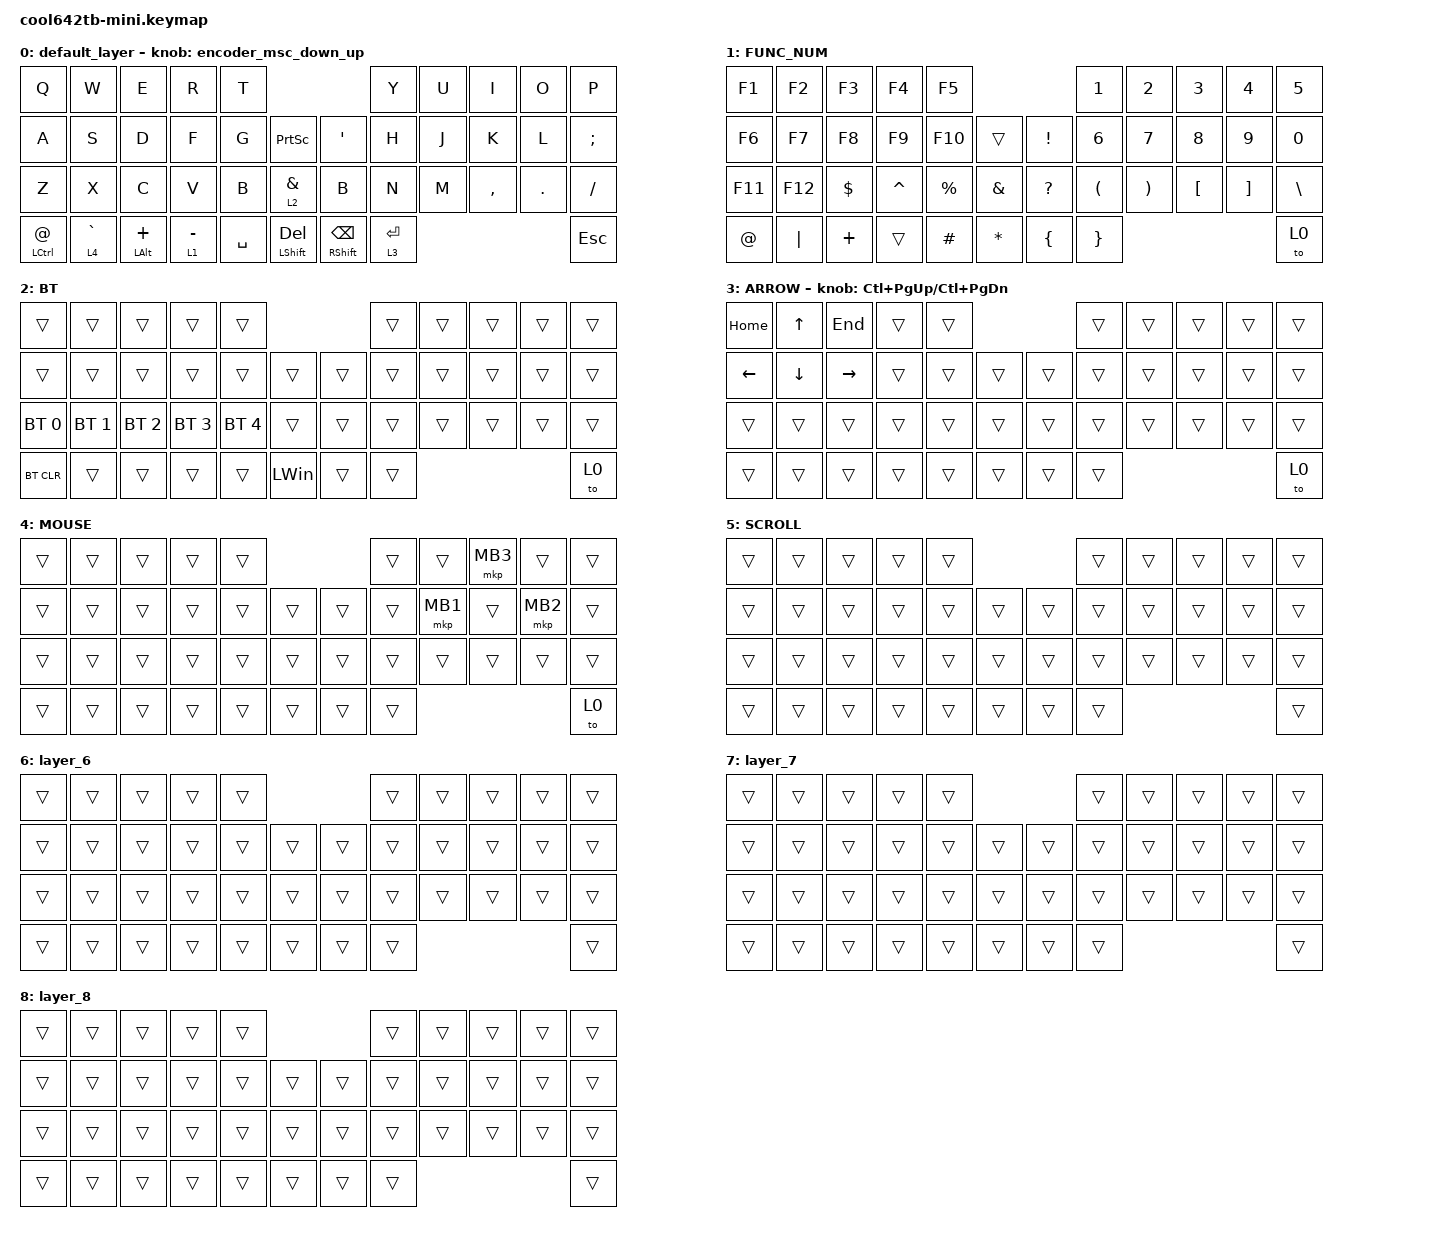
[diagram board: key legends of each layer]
#include <behaviors.dtsi>
#include <dt-bindings/zmk/bt.h>
#include <dt-bindings/zmk/keys.h>
#include <dt-bindings/zmk/pointing.h>

#define MOUSE 4
#define SCROLL 5
#define NUM 6
#define ZMK_POINTING_DEFAULT_SCRL_VAL 80

&mt {
    flavor = "balanced";
    quick-tap-ms = <0>;
};

/ {
    combos {
        compatible = "zmk,combos";

        JA-KOchange {
            bindings = <&kp LG(SPACE)>;
            key-positions = <39 40>;
        };

        RightALT {
            bindings = <&kp RIGHT_ALT>;
            key-positions = <40 41>;
        };

        TAB_combo {
            bindings = <&kp TAB>;
            key-positions = <4 14>;
        };

        BT_0 {
            bindings = <&bt BT_SEL 0>;
            key-positions = <0 9>;
        };

        BT_1 {
            bindings = <&bt BT_SEL 1>;
            key-positions = <42 34>;
        };

        KANAchange {
            bindings = <&kp LA(GRAVE)>;
            key-positions = <39 38>;
        };

        bikkuri {
            bindings = <&kp EXCLAMATION>;
            key-positions = <16 28>;
        };
    };

    behaviors {
        encoder_msc_down_up: encoder_msc_down_up {
            compatible = "zmk,behavior-sensor-rotate";
            label = "ENCODER_MSC_DOWN_UP";
            #sensor-binding-cells = <0>;
            bindings = <&msc SCRL_UP>, <&msc SCRL_DOWN>;

            tap-ms = <20>;
        };
    };

    keymap {
        compatible = "zmk,keymap";

        default_layer {
            bindings = <
&kp Q         &kp W        &kp E              &kp R        &kp T                                                  &kp Y        &kp U  &kp I      &kp O    &kp P
&kp A         &kp S        &kp D              &kp F        &kp G      &kp PSCRN              &kp SINGLE_QUOTE     &kp H        &kp J  &kp K      &kp L    &kp SEMICOLON
&kp Z         &kp X        &kp C              &kp V        &kp B      &lt 2 AMPS             &kp B                &kp N        &kp M  &kp COMMA  &kp DOT  &kp SLASH
&mt LCTRL AT  &lt 4 GRAVE  &mt LEFT_ALT PLUS  &lt 1 MINUS  &kp SPACE  &mt LSHIFT DELETE      &mt RSHFT BACKSPACE  &lt 3 ENTER                             &kp ESCAPE
            >;

            sensor-bindings = <&encoder_msc_down_up>;
        };

        FUNC_NUM {
            bindings = <
&kp F1   &kp F2    &kp F3      &kp F4     &kp F5                                          &kp NUMBER_1          &kp NUMBER_2           &kp NUMBER_3      &kp NUMBER_4       &kp NUMBER_5
&kp F6   &kp F7    &kp F8      &kp F9     &kp F10      &trans            &kp EXCLAMATION  &kp NUMBER_6          &kp NUMBER_7           &kp NUMBER_8      &kp NUMBER_9       &kp NUMBER_0
&kp F11  &kp F12   &kp DOLLAR  &kp CARET  &kp PERCENT  &kp AMPS          &kp QUESTION     &kp LEFT_PARENTHESIS  &kp RIGHT_PARENTHESIS  &kp LEFT_BRACKET  &kp RIGHT_BRACKET  &kp BACKSLASH
&kp AT   &kp PIPE  &kp PLUS    &trans     &kp HASH     &kp ASTERISK      &kp LEFT_BRACE   &kp RIGHT_BRACE                                                                   &to 0
            >;
        };

        BT {
            bindings = <
&trans        &trans        &trans        &trans        &trans                                  &trans  &trans  &trans  &trans  &trans
&trans        &trans        &trans        &trans        &trans        &trans            &trans  &trans  &trans  &trans  &trans  &trans
&bt BT_SEL 0  &bt BT_SEL 1  &bt BT_SEL 2  &bt BT_SEL 3  &bt BT_SEL 4  &trans            &trans  &trans  &trans  &trans  &trans  &trans
&bt BT_CLR    &trans        &trans        &trans        &trans        &kp LEFT_WIN      &trans  &trans                          &to 0
            >;
        };

        ARROW {
            bindings = <
&kp HOME  &kp UP_ARROW  &kp END    &trans  &trans                      &trans  &trans  &trans  &trans  &trans
&kp LEFT  &kp DOWN      &kp RIGHT  &trans  &trans  &trans      &trans  &trans  &trans  &trans  &trans  &trans
&trans    &trans        &trans     &trans  &trans  &trans      &trans  &trans  &trans  &trans  &trans  &trans
&trans    &trans        &trans     &trans  &trans  &trans      &trans  &trans                          &to 0
            >;

            sensor-bindings = <&inc_dec_kp LC(PAGE_UP) LC(PAGE_DOWN)>;
        };

        MOUSE {
            bindings = <
&trans  &trans  &trans  &trans  &trans                      &trans  &trans    &mkp MB3  &trans    &trans
&trans  &trans  &trans  &trans  &trans  &trans      &trans  &trans  &mkp MB1  &trans    &mkp MB2  &trans
&trans  &trans  &trans  &trans  &trans  &trans      &trans  &trans  &trans    &trans    &trans    &trans
&trans  &trans  &trans  &trans  &trans  &trans      &trans  &trans                                &to 0
            >;
        };

        SCROLL {
            bindings = <
&trans  &trans  &trans  &trans  &trans                      &trans  &trans  &trans  &trans  &trans
&trans  &trans  &trans  &trans  &trans  &trans      &trans  &trans  &trans  &trans  &trans  &trans
&trans  &trans  &trans  &trans  &trans  &trans      &trans  &trans  &trans  &trans  &trans  &trans
&trans  &trans  &trans  &trans  &trans  &trans      &trans  &trans                          &trans
            >;
        };

        layer_6 {
            bindings = <
&trans  &trans  &trans  &trans  &trans                      &trans  &trans  &trans  &trans  &trans
&trans  &trans  &trans  &trans  &trans  &trans      &trans  &trans  &trans  &trans  &trans  &trans
&trans  &trans  &trans  &trans  &trans  &trans      &trans  &trans  &trans  &trans  &trans  &trans
&trans  &trans  &trans  &trans  &trans  &trans      &trans  &trans                          &trans
            >;
        };

        layer_7 {
            bindings = <
&trans  &trans  &trans  &trans  &trans                      &trans  &trans  &trans  &trans  &trans
&trans  &trans  &trans  &trans  &trans  &trans      &trans  &trans  &trans  &trans  &trans  &trans
&trans  &trans  &trans  &trans  &trans  &trans      &trans  &trans  &trans  &trans  &trans  &trans
&trans  &trans  &trans  &trans  &trans  &trans      &trans  &trans                          &trans
            >;
        };

        layer_8 {
            bindings = <
&trans  &trans  &trans  &trans  &trans                      &trans  &trans  &trans  &trans  &trans
&trans  &trans  &trans  &trans  &trans  &trans      &trans  &trans  &trans  &trans  &trans  &trans
&trans  &trans  &trans  &trans  &trans  &trans      &trans  &trans  &trans  &trans  &trans  &trans
&trans  &trans  &trans  &trans  &trans  &trans      &trans  &trans                          &trans
            >;
        };
    };
};
